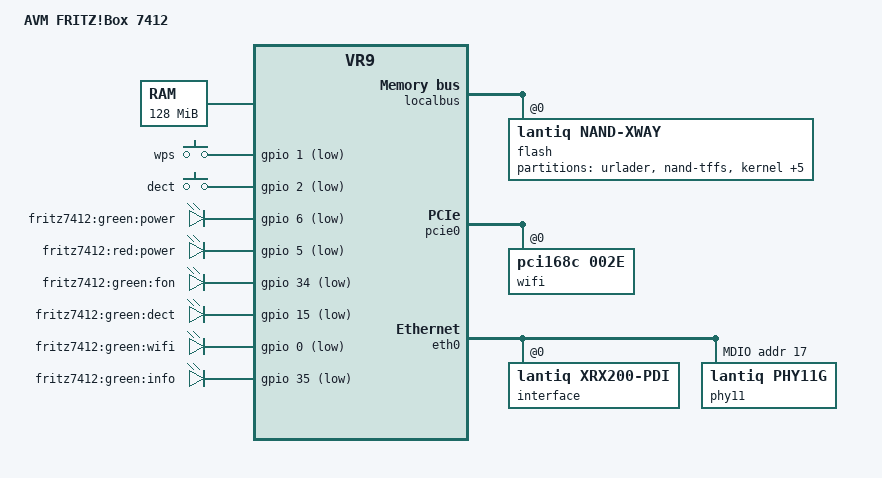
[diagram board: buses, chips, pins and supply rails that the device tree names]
// SPDX-License-Identifier: GPL-2.0-or-later OR MIT
/dts-v1/;

#include "vr9.dtsi"

#include <dt-bindings/input/input.h>
#include <dt-bindings/mips/lantiq_rcu_gphy.h>

/ {
	compatible = "avm,fritz7412", "lantiq,xway", "lantiq,vr9";
	model = "AVM FRITZ!Box 7412";

	chosen {
		bootargs = "console=ttyLTQ0,115200";
	};

	aliases {
		led-boot = &power_green;
		led-failsafe = &power_red;
		led-running = &power_green;
		led-upgrade = &power_red;

		led-dsl = &info;
		led-wifi = &wifi;
	};

	memory@0 {
		device_type = "memory";
		reg = <0x0 0x8000000>;
	};

	keys {
		compatible = "gpio-keys-polled";
		poll-interval = <100>;

		wps {
			label = "wps";
			gpios = <&gpio 1 GPIO_ACTIVE_LOW>;
			linux,code = <KEY_WPS_BUTTON>;
		};

		dect {
			label = "dect";
			gpios = <&gpio 2 GPIO_ACTIVE_LOW>;
			linux,code = <KEY_PHONE>;
		};
	};

	leds {
		compatible = "gpio-leds";

		power_green: power_green {
			label = "fritz7412:green:power";
			gpios = <&gpio 6 GPIO_ACTIVE_LOW>;
			default-state = "keep";
		};

		power_red: power_red {
			label = "fritz7412:red:power";
			gpios = <&gpio 5 GPIO_ACTIVE_LOW>;
		};

		fon {
			label = "fritz7412:green:fon";
			gpios = <&gpio 34 GPIO_ACTIVE_LOW>;
		};

		dect {
			label = "fritz7412:green:dect";
			gpios = <&gpio 15 GPIO_ACTIVE_LOW>;
		};

		wifi: wifi {
			label = "fritz7412:green:wifi";
			gpios = <&gpio 0 GPIO_ACTIVE_LOW>;
		};

		info: info {
			label = "fritz7412:green:info";
			gpios = <&gpio 35 GPIO_ACTIVE_LOW>;
		};
	};
};

&localbus {
	flash@0 {
		compatible = "lantiq,nand-xway";
		bank-width = <2>;
		reg = <0 0x0 0x2000000>;
		lantiq,cs = <1>;

		pinctrl-0 = <&nand_pins>, <&nand_cs1_pins>;
		pinctrl-names = "default";

		partitions {
			compatible = "fixed-partitions";
			#address-cells = <1>;
			#size-cells = <1>;

			partition@0 {
				label = "urlader";
				reg = <0x0 0x40000>;
				read-only;
			};

			partition@40000 {
				label = "nand-tffs";
				reg = <0x40000 0x400000>;
				read-only;
			};

			partition@440000 {
				label = "kernel";
				reg = <0x440000 0x400000>;
			};

			partition@840000 {
				label = "ubi";
				reg = <0x840000 0x3000000>;
			};

			partition@3840000 {
				label = "reserved-kernel";
				reg = <0x3840000 0x400000>;
				read-only;
			};

			partition@3c40000 {
				label = "reserved-filesystem";
				reg = <0x3c40000 0x3000000>;
				read-only;
			};

			partition@6c40000 {
				label = "config";
				reg = <0x6c40000 0x400000>;
				read-only;
			};

			partition@6e40000 {
				label = "nand-filesystem";
				reg = <0x6e40000 0x400000>;
				read-only;
			};
		};
	};
};

&pcie0 {
	status = "okay";
	gpio-reset = <&gpio 11 GPIO_ACTIVE_HIGH>;

	pcie@0 {
		reg = <0 0 0 0 0>;
		#interrupt-cells = <1>;
		#size-cells = <2>;
		#address-cells = <3>;
		device_type = "pci";

		wifi@168c,002e {
			compatible = "pci168c,002e";
			reg = <0 0 0 0 0>;
			qca,no-eeprom; /* load from ath9k-eeprom-pci-0000:01:00.0.bin */
		};
	};
};

&gpio {
	pinctrl-names = "default";
	pinctrl-0 = <&state_default>;

	state_default: pinmux {
		pcie-rst {
			lantiq,pins = "io11";
			lantiq,open-drain = <1>;
			lantiq,output = <1>;
		};
	};
};

&gphy0 {
       lantiq,gphy-mode = <GPHY_MODE_FE>;
};

&eth0 {
	lantiq,phys = <&gphy0>;

	interface@0 {
		compatible = "lantiq,xrx200-pdi";
		#address-cells = <1>;
		#size-cells = <0>;
		reg = <0>;
		mac-address = [ 00 11 22 33 44 55 ];
		lantiq,switch;

		ethernet@2 {
			compatible = "lantiq,xrx200-pdi-port";
			reg = <2>;
			phy-mode = "gmii";
			phy-handle = <&phy11>;
		};
	};

	mdio {
		#address-cells = <1>;
		#size-cells = <0>;
		compatible = "lantiq,xrx200-mdio";

		phy11: ethernet-phy@11 {
			reg = <0x11>;
			compatible = "lantiq,phy11g", "ethernet-phy-ieee802.3-c22";
		};
	};
};
